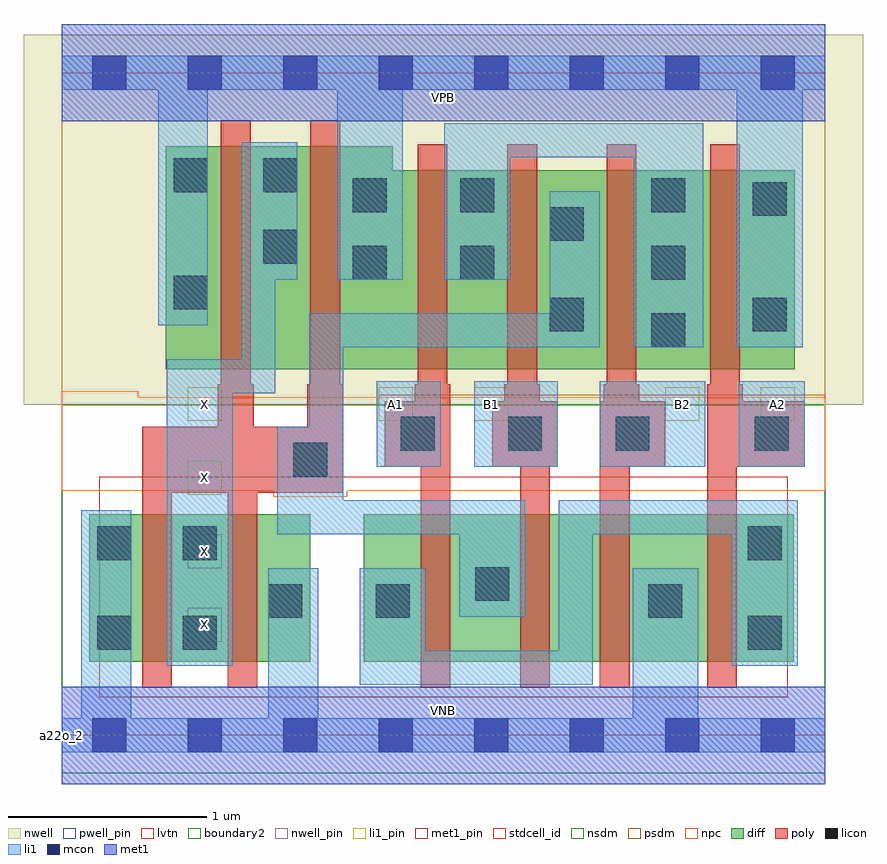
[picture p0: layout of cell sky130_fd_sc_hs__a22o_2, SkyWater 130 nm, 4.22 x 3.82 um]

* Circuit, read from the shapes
.subckt sky130_fd_sc_hs__a22o_2 A1 A2 B1 B2 VGND VNB VPB VPWR X
XM1 X n1 VGND VNB sky130_fd_pr__nfet_01v8_lvt w=0.74 l=0.15 m=2
XM2 n1 A1 n2 VNB sky130_fd_pr__nfet_01v8_lvt w=0.74 l=0.15
XM3 n3 B1 n1 VNB sky130_fd_pr__nfet_01v8_lvt w=0.74 l=0.15
XM4 VGND B2 n3 VNB sky130_fd_pr__nfet_01v8_lvt w=0.74 l=0.15
XM5 n2 A2 VGND VNB sky130_fd_pr__nfet_01v8_lvt w=0.74 l=0.15
XM6 X n1 VPWR VPB sky130_fd_pr__pfet_01v8 w=1.12 l=0.15 m=2
XM7 n4 A1 VPWR VPB sky130_fd_pr__pfet_01v8 w=1 l=0.15
XM8 n1 B1 n4 VPB sky130_fd_pr__pfet_01v8 w=1 l=0.15
XM9 n4 B2 n1 VPB sky130_fd_pr__pfet_01v8 w=1 l=0.15
XM10 VPWR A2 n4 VPB sky130_fd_pr__pfet_01v8 w=1 l=0.15
.ends

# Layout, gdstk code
import gdstk
lib = gdstk.Library(unit=1e-6, precision=1e-09)
def R(c, l, rs):  # rectangles x0, y0, x1, y1
    for r in rs: c.add(gdstk.rectangle(r[:2], r[2:], *l))
def A(c, l, x, y, w, h, nx, ny, dx, dy):  # array of equal rectangles
    R(c, l, [(x+i*dx, y+j*dy, x+i*dx+w, y+j*dy+h) for i in range(nx) for j in range(ny)])
def P(c, l, *ps):  # polygons
    for p in ps: c.add(gdstk.Polygon(p, *l))
nwell_pin = (64, 16)
nwell = (64, 20)
diff = (65, 20)
poly = (66, 20)
licon = (66, 44)
li1_pin = (67, 16)
li1 = (67, 20)
mcon = (67, 44)
met1_pin = (68, 16)
met1 = (68, 20)
stdcell_id = (81, 4)
nsdm = (93, 44)
psdm = (94, 20)
npc = (95, 20)
pwell_pin = (122, 16)
lvtn = (125, 44)
boundary2 = (236, 0)

sky130_fd_sc_hs__a22o_2 = lib.new_cell('sky130_fd_sc_hs__a22o_2')
R(sky130_fd_sc_hs__a22o_2, nwell_pin, [(0,3.085,3.84,3.33)])
R(sky130_fd_sc_hs__a22o_2, nwell, [(-0.19,1.66,4.03,3.52)])
R(sky130_fd_sc_hs__a22o_2, diff, [(0.14,0.37,1.25,1.11), (1.52,0.37,3.68,1.11)])
P(sky130_fd_sc_hs__a22o_2, diff, [(3.685,2.84),(1.665,2.84),(1.665,2.96),(0.525,2.96),(0.525,1.84),(3.685,1.84)])
P(sky130_fd_sc_hs__a22o_2, poly, [(3.735,1.68),(3.425,1.68),(3.425,1.765),(3.41,1.765),(3.41,2.97),(3.26,2.97),(3.26,1.765),(3.245,1.765),(3.245,0.24),(3.395,0.24),(3.395,1.35),(3.735,1.35)],
  [(3.035,1.68),(2.905,1.68),(2.905,1.765),(2.89,1.765),(2.89,2.97),(2.74,2.97),(2.74,1.765),(2.725,1.765),(2.725,1.68),(2.705,1.68),(2.705,0.24),(2.855,0.24),(2.855,1.35),(3.035,1.35)],
  [(2.495,1.68),(2.405,1.68),(2.405,1.765),(2.39,1.765),(2.39,2.97),(2.24,2.97),(2.24,1.765),(2.225,1.765),(2.225,1.68),(2.165,1.68),(2.165,1.35),(2.305,1.35),(2.305,0.24),(2.455,0.24),(2.455,1.35),(2.495,1.35)],
  [(1.955,1.765),(1.94,1.765),(1.94,2.97),(1.79,2.97),(1.79,1.765),(1.775,1.765),(1.775,1.68),(1.625,1.68),(1.625,1.35),(1.805,1.35),(1.805,0.24),(1.955,0.24)],
  [(1.415,1.765),(1.4,1.765),(1.4,3.09),(1.25,3.09),(1.25,1.765),(1.235,1.765),(1.235,1.55),(0.965,1.55),(0.965,1.765),(0.95,1.765),(0.95,3.09),(0.8,3.09),(0.8,1.765),(0.785,1.765),(0.785,1.55),(0.405,1.55),(0.405,0.24),(0.555,0.24),(0.555,1.22),(0.835,1.22),(0.835,0.24),(0.985,0.24),(0.985,1.22),(1.415,1.22)])
A(sky130_fd_sc_hs__a22o_2, licon, 1.705, 1.43, 0.17, 0.17, 3, 1, 0.54, 0)
A(sky130_fd_sc_hs__a22o_2, licon, 2.965, 1.95, 0.17, 0.17, 1, 3, 0, 0.34)
R(sky130_fd_sc_hs__a22o_2, licon, [(0.18,0.43,0.35,0.6), (0.61,0.43,0.78,0.6), (3.45,0.43,3.62,0.6), (1.04,0.59,1.21,0.76), (1.58,0.59,1.75,0.76), (2.95,0.59,3.12,0.76), (2.08,0.675,2.25,0.845), (0.18,0.88,0.35,1.05), (0.61,0.88,0.78,1.05), (3.45,0.88,3.62,1.05), (1.165,1.3,1.335,1.47), (3.485,1.43,3.655,1.6), (2.455,2.03,2.625,2.2), (3.475,2.03,3.645,2.2), (0.565,2.14,0.735,2.31), (1.465,2.29,1.635,2.46), (2.005,2.29,2.175,2.46), (1.015,2.37,1.185,2.54), (2.455,2.485,2.625,2.655), (3.475,2.61,3.645,2.78), (1.465,2.63,1.635,2.8), (2.005,2.63,2.175,2.8), (0.565,2.73,0.735,2.9), (1.015,2.73,1.185,2.9)])
A(sky130_fd_sc_hs__a22o_2, li1_pin, 0.635, 0.47, 0.17, 0.17, 1, 4, 0, 0.37)
R(sky130_fd_sc_hs__a22o_2, li1_pin, [(1.595,1.58,1.765,1.75), (2.075,1.58,2.245,1.75), (3.035,1.58,3.205,1.75), (3.515,1.58,3.685,1.75)])
R(sky130_fd_sc_hs__a22o_2, li1, [(1.585,1.35,1.905,1.78), (2.075,1.35,2.495,1.78), (2.705,1.35,3.235,1.78), (3.405,1.35,3.735,1.78)])
P(sky130_fd_sc_hs__a22o_2, li1, [(3.395,1.95),(3.395,3.245),(1.715,3.245),(1.715,2.29),(1.385,2.29),(1.385,3.245),(0.735,3.245),(0.735,2.06),(0.485,2.06),(0.485,3.245),(0,3.245),(0,3.415),(3.84,3.415),(3.84,3.245),(3.725,3.245),(3.725,1.95)],
  [(1.04,0.085),(1.04,0.84),(1.29,0.84),(1.29,0.085),(2.87,0.085),(2.87,0.84),(3.2,0.84),(3.2,0.085),(3.84,0.085),(3.84,-0.085),(0,-0.085),(0,0.085),(0.1,0.085),(0.1,1.13),(0.35,1.13),(0.35,0.085)],
  [(0.53,0.35),(0.53,1.89),(0.905,1.89),(0.905,2.98),(1.185,2.98),(1.185,2.29),(1.075,2.29),(1.075,1.72),(0.86,1.72),(0.86,0.35)],
  [(1.085,1.01),(1.085,1.55),(1.245,1.55),(1.245,2.12),(2.455,2.12),(2.455,2.735),(2.705,2.735),(2.705,1.95),(1.415,1.95),(1.415,1.18),(2.33,1.18),(2.33,0.595),(2,0.595),(2,1.01)],
  [(1.83,0.425),(2.5,0.425),(2.5,1.18),(3.7,1.18),(3.7,0.35),(3.37,0.35),(3.37,1.01),(2.67,1.01),(2.67,0.255),(1.5,0.255),(1.5,0.84),(1.83,0.84)],
  [(1.925,2.29),(1.925,3.075),(3.225,3.075),(3.225,1.95),(2.875,1.95),(2.875,2.905),(2.255,2.905),(2.255,2.29)])
A(sky130_fd_sc_hs__a22o_2, mcon, 0.155, -0.085, 0.17, 0.17, 8, 2, 0.48, 3.33)
R(sky130_fd_sc_hs__a22o_2, met1_pin, [(0,0,3.84,0.245), (0,3.085,3.84,3.33)])
R(sky130_fd_sc_hs__a22o_2, met1, [(0,-0.245,3.84,0.245), (0,3.085,3.84,3.575)])
R(sky130_fd_sc_hs__a22o_2, stdcell_id, [(0,0,3.84,3.33)])
R(sky130_fd_sc_hs__a22o_2, nsdm, [(0,-0.19,3.84,1.66)])
P(sky130_fd_sc_hs__a22o_2, psdm, [(3.84,3.52),(0,3.52),(0,1.66),(1.595,1.66),(1.595,1.71),(3.84,1.71)])
P(sky130_fd_sc_hs__a22o_2, npc, [(3.84,1.7),(0.385,1.7),(0.385,1.73),(0,1.73),(0,1.23),(1.065,1.23),(1.065,1.2),(1.435,1.2),(1.435,1.23),(3.84,1.23)])
R(sky130_fd_sc_hs__a22o_2, pwell_pin, [(0,0,3.84,0.245)])
R(sky130_fd_sc_hs__a22o_2, lvtn, [(0.19,0.19,3.65,1.3)])
R(sky130_fd_sc_hs__a22o_2, boundary2, [(0,0,3.84,3.33)])
sky130_fd_sc_hs__a22o_2.add(gdstk.Label('a22o_2', (0,0), layer=83, texttype=44))
sky130_fd_sc_hs__a22o_2.add(gdstk.Label('VNB', (1.92,0.123), layer=64, texttype=59))
sky130_fd_sc_hs__a22o_2.add(gdstk.Label('VPB', (1.92,3.208), layer=64, texttype=5))
sky130_fd_sc_hs__a22o_2.add(gdstk.Label('VPWR', (1.92,3.208), layer=68, texttype=5))
sky130_fd_sc_hs__a22o_2.add(gdstk.Label('VGND', (1.92,0.123), layer=68, texttype=5))
sky130_fd_sc_hs__a22o_2.add(gdstk.Label('X', (0.72,0.555), layer=67, texttype=5))
sky130_fd_sc_hs__a22o_2.add(gdstk.Label('X', (0.72,0.925), layer=67, texttype=5))
sky130_fd_sc_hs__a22o_2.add(gdstk.Label('X', (0.72,1.295), layer=67, texttype=5))
sky130_fd_sc_hs__a22o_2.add(gdstk.Label('X', (0.72,1.665), layer=67, texttype=5))
sky130_fd_sc_hs__a22o_2.add(gdstk.Label('B2', (3.12,1.665), layer=67, texttype=5))
sky130_fd_sc_hs__a22o_2.add(gdstk.Label('B1', (2.16,1.665), layer=67, texttype=5))
sky130_fd_sc_hs__a22o_2.add(gdstk.Label('A2', (3.6,1.665), layer=67, texttype=5))
sky130_fd_sc_hs__a22o_2.add(gdstk.Label('A1', (1.68,1.665), layer=67, texttype=5))

lib.write_gds('sky130_fd_sc_hs__a22o_2.gds')
